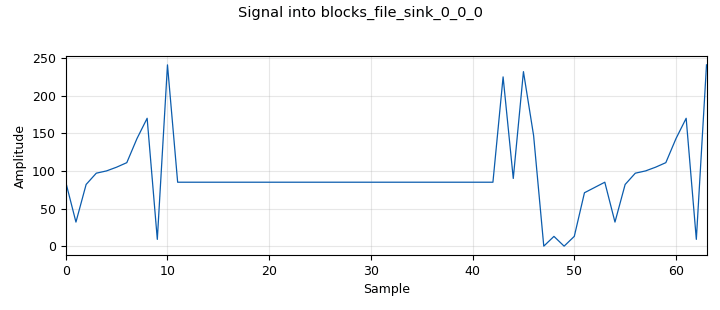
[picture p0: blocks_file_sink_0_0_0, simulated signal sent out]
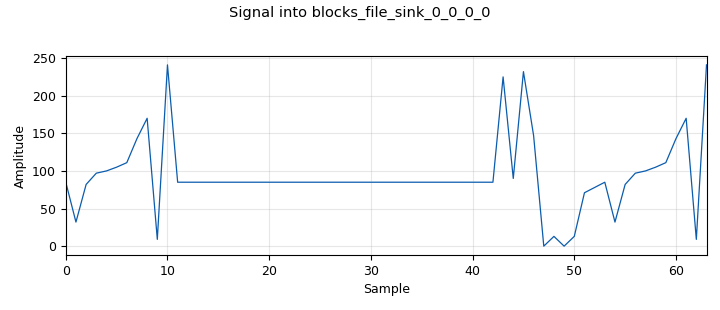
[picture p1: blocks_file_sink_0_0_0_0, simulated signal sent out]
options:
  parameters:
    author: art3m1sf0wl
    generate_options: qt_gui
    id: template_for_text_messages
    output_language: python
    title: Not titled yet
  states: {}

blocks:
- name: samp_rate
  id: variable
  parameters:
    value: '32000'
  states: {}
- name: analog_random_source_x_0
  id: analog_random_source_x
  parameters:
    max: '256'
    min: '0'
    num_samps: '1000'
    repeat: 'True'
    type: byte
  states: {state: disabled}
- name: blocks_file_sink_0_0_0
  id: blocks_file_sink
  parameters:
    append: 'True'
    file: /home/art3m1sf0wl/program/TRX_test/test_13.txt
    type: byte
    unbuffered: 'True'
  states: {}
- name: blocks_file_sink_0_0_0_0
  id: blocks_file_sink
  parameters:
    append: 'True'
    file: /home/art3m1sf0wl/program/TRX_test/test_13_orig.txt
    type: byte
    unbuffered: 'True'
  states: {}
- name: blocks_message_strobe_0
  id: blocks_message_strobe
  parameters:
    msg: ' pmt.cons(pmt.PMT_NIL,pmt.init_u8vector(9,(71,78,85,32,82,97,100,105,111)))'
    period: '500'
  states: {}
- name: blocks_repack_bits_bb_0
  id: blocks_repack_bits_bb
  parameters:
    endianness: gr.GR_MSB_FIRST
    k: '1'
    l: '8'
  states: {}
- name: blocks_throttle_0_1
  id: blocks_throttle
  parameters:
    samples_per_second: samp_rate
    type: byte
  states: {}
- name: blocks_unpack_k_bits_bb_1_0
  id: blocks_unpack_k_bits_bb
  parameters:
    k: '8'
  states: {}
- name: digital_crc32_async_bb_1
  id: digital_crc32_async_bb
  parameters:
    check: 'False'
  states: {}
- name: epy_block_0
  id: epy_block
  parameters:
    _source_code: |
      """
      Embedded Python Block
      """

      import numpy as np
      from gnuradio import gr
      import pmt

      class blk(gr.sync_block):
          """Packet Format"""

          def __init__(self):
              gr.sync_block.__init__(self,
                  name = "Packet Format",
                  in_sig = None,
                  out_sig = None)
              self.message_port_register_in(pmt.intern('PDU_in'))
              self.message_port_register_out(pmt.intern('PDU_out'))
              self.set_msg_handler(pmt.intern('PDU_in'), self.handle_msg)

          def handle_msg(self, msg):
              inMsg = pmt.to_python (msg)
              pld = inMsg[1]
              # print (pld)
              mLen = len(pld)
              # print (mLen)
              if (mLen > 0):
                  char_list = [85,85,85,85,85,85,85,85,85,85,85,85,85,85,85,85,85,85,85,85,85,85,85,85,85,85,85,85,85,85,85,85,225,90,232,147]
                  char_list.append (mLen >> 8)
                  char_list.append (mLen & 255)
                  char_list.append (mLen >> 8)
                  char_list.append (mLen & 255)
                  char_list.extend (pld)
                  # print (char_list)
                  out_len = len(char_list)
                  # print (out_len)
                  self.message_port_pub(pmt.intern('PDU_out'), pmt.cons(pmt.PMT_NIL,pmt.init_u8vector(out_len,(char_list))))
  states: {}
- name: pdu_pdu_to_tagged_stream_0
  id: pdu_pdu_to_tagged_stream
  parameters:
    tag: packet_len
    type: byte
  states: {}

connections:
- [analog_random_source_x_0, '0', blocks_throttle_0_1, '0']
- [blocks_message_strobe_0, strobe, digital_crc32_async_bb_1, in]
- [blocks_repack_bits_bb_0, '0', blocks_file_sink_0_0_0, '0']
- [blocks_throttle_0_1, '0', blocks_file_sink_0_0_0_0, '0']
- [blocks_throttle_0_1, '0', blocks_unpack_k_bits_bb_1_0, '0']
- [blocks_unpack_k_bits_bb_1_0, '0', blocks_repack_bits_bb_0, '0']
- [digital_crc32_async_bb_1, out, epy_block_0, PDU_in]
- [epy_block_0, PDU_out, pdu_pdu_to_tagged_stream_0, pdus]
- [pdu_pdu_to_tagged_stream_0, '0', blocks_throttle_0_1, '0']

metadata:
  file_format: 1
  grc_version: 3.10.5.1
